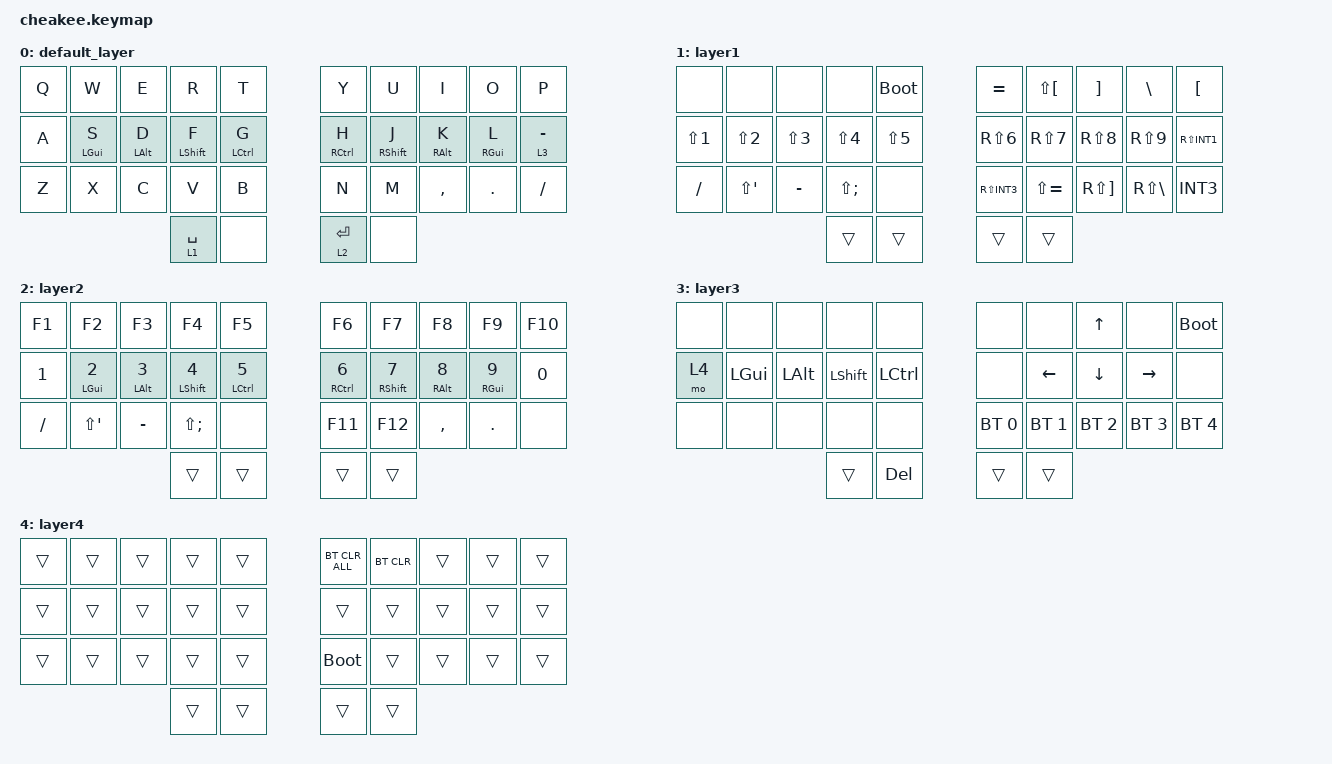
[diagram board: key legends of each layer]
#include <input/processors.dtsi>
#include <dt-bindings/zmk/input_transform.h>
#include <behaviors.dtsi>
#include <dt-bindings/zmk/bt.h>
#include <dt-bindings/zmk/keys.h>
#include <dt-bindings/zmk/pointing.h>
#include <scroll-snap.dtsi>

/ {
    combos {
        compatible = "zmk,combos";

        Eisu {
            bindings = <&kp LANGUAGE_2>;
            key-positions = <21 22>;
            layers = <0>;
            timeout-ms = <30>;
        };

        Kana {
            bindings = <&kp LANGUAGE_1>;
            key-positions = <27 28>;
            layers = <0>;
            timeout-ms = <30>;
        };

        LeftClick {
            bindings = <&mkp LCLK>;
            key-positions = <16 17>;
            layers = <0>;
            require-prior-idle-ms = <150>;
            timeout-ms = <30>;
        };

        RightClick {
            bindings = <&mkp RCLK>;
            key-positions = <17 18>;
            layers = <0>;
            require-prior-idle-ms = <150>;
            timeout-ms = <30>;
        };

        MiddleClick {
            bindings = <&mkp MCLK>;
            key-positions = <18 16>;
            layers = <0>;
            require-prior-idle-ms = <150>;
            timeout-ms = <30>;
        };

        Tab {
            bindings = <&kp TAB>;
            key-positions = <11 12>;
            layers = <0>;
            require-prior-idle-ms = <150>;
        };

        Escape {
            bindings = <&kp ESC>;
            key-positions = <1 2>;
            layers = <0>;
            require-prior-idle-ms = <150>;
        };

        DoubleQuote {
            bindings = <&kp LS(NUMBER_2)>;
            key-positions = <7 8>;
            layers = <0>;
            require-prior-idle-ms = <150>;
        };

        Semicolon {
            bindings = <&kp SEMICOLON>;
            key-positions = <6 7>;
            layers = <0>;
            require-prior-idle-ms = <150>;
        };

        Colon {
            bindings = <&kp SINGLE_QUOTE>;
            key-positions = <26 27>;
            layers = <0>;
            require-prior-idle-ms = <150>;
        };

        Scroll {
            bindings = <&mo 3>;
            key-positions = <16 17 18>;
            layers = <0>;
        };

        Backspace {
            bindings = <&kp BACKSPACE>;
            key-positions = <13 12>;
            layers = <0>;
        };
    };

    behaviors {
        auto_caps_word: auto_caps_word {
            compatible = "zmk,behavior-auto-caps-word";
            #binding-cells = <0>;
            continue-list = <INT1 BACKSPACE DELETE>;
            display-name = "Auto Caps Word";
            auto-activate-upper-count = <3>;
        };

        hmr_l: hmr_l {
            compatible = "zmk,behavior-hold-tap";
            label = "HMR_L";
            bindings = <&kp>, <&kp>;

            #binding-cells = <2>;
            tapping-term-ms = <300>;
            flavor = "balanced";
            hold-trigger-key-positions = <5 15 25 32 33 26 28 27 29 19 18 17 16 6 7 8 9>;
            hold-trigger-on-release;
            require-prior-idle-ms = <150>;
        };

        hmr_r: hmr_r {
            compatible = "zmk,behavior-hold-tap";
            label = "HMR_R";
            bindings = <&kp>, <&kp>;

            #binding-cells = <2>;
            tapping-term-ms = <300>;
            flavor = "balanced";
            hold-trigger-key-positions = <31 30 20 21 22 23 24 14 13 12 11 10 0 1 2 3 4>;
            hold-trigger-on-release;
            require-prior-idle-ms = <150>;
        };

        lt_thumb: lt_thumb {
            compatible = "zmk,behavior-hold-tap";
            label = "LT_THUMB";
            bindings = <&mo>, <&kp>;

            #binding-cells = <2>;
            tapping-term-ms = <250>;
        };

        lt_arrow: lt_arrow {
            compatible = "zmk,behavior-hold-tap";
            label = "LT_ARROW";
            bindings = <&mo>, <&kp>;

            #binding-cells = <2>;
            flavor = "balanced";
            tapping-term-ms = <200>;
            require-prior-idle-ms = <150>;
        };

        lt_scroll: lt_scroll {
            compatible = "zmk,behavior-hold-tap";
            label = "LT_SCROLL";
            #binding-cells = <2>;
            tapping-term-ms = <300>;
            flavor = "tap-preferred";
            bindings = <&mo>, <&kp>;

            hold-while-undecided;
            require-prior-idle-ms = <150>;
        };

        hmr_l_2: hmr_l_2 {
            compatible = "zmk,behavior-hold-tap";
            label = "HMR_L_2";
            bindings = <&kp>, <&kp>;

            #binding-cells = <2>;
            tapping-term-ms = <300>;
            flavor = "balanced";
            hold-trigger-key-positions = <5 15 25 32 33 26 28 27 29 19 18 17 16 6 7 8 9>;
            hold-trigger-on-release;
            require-prior-idle-ms = <150>;
            hold-while-undecided;
        };

        hmr_r_2: hmr_r_2 {
            compatible = "zmk,behavior-hold-tap";
            label = "HMR_R_2";
            bindings = <&kp>, <&kp>;

            #binding-cells = <2>;
            tapping-term-ms = <300>;
            flavor = "balanced";
            hold-trigger-key-positions = <31 30 20 21 22 23 24 14 13 12 11 10 0 1 2 3 4>;
            hold-trigger-on-release;
            require-prior-idle-ms = <150>;
            hold-while-undecided;
        };

        hmr_num_l: hmr_num_l {
            compatible = "zmk,behavior-hold-tap";
            label = "HMR_NUM_L";
            bindings = <&kp>, <&kp>;

            #binding-cells = <2>;
            tapping-term-ms = <300>;
            flavor = "tap-preferred";
            hold-trigger-key-positions = <5 15 25 32 33 26 28 27 29 19 18 17 16 6 7 8 9>;
            hold-trigger-on-release;
            require-prior-idle-ms = <150>;
            retro-tap;
        };

        hmr_num_r: hmr_num_r {
            compatible = "zmk,behavior-hold-tap";
            label = "HMR_NUM_R";
            bindings = <&kp>, <&kp>;

            #binding-cells = <2>;
            tapping-term-ms = <300>;
            flavor = "tap-preferred";
            hold-trigger-key-positions = <31 30 20 21 22 23 24 14 13 12 11 10 0 1 2 3 4>;
            hold-trigger-on-release;
            require-prior-idle-ms = <150>;
            retro-tap;
        };
    };

    keymap {
        compatible = "zmk,keymap";

        default_layer {
            bindings = <
&kp Q  &kp W  &kp E  &kp R  &kp T  &kp Y  &kp U  &kp I  &kp O  &kp P  &kp A  &hmr_l LEFT_GUI S  &hmr_l LEFT_ALT D  &hmr_l_2 LEFT_SHIFT F  &hmr_l_2 LCTRL G  &hmr_r_2 RCTRL H  &hmr_r_2 RIGHT_SHIFT J  &hmr_r RIGHT_ALT K  &hmr_r RIGHT_GUI L  &lt_arrow 3 MINUS  &kp Z  &kp X  &kp C  &kp V  &kp B  &kp N  &kp M  &kp COMMA  &kp DOT  &kp SLASH  &lt_thumb 1 SPACE  &none  &lt_thumb 2 ENTER  &none
            >;
        };

        layer1 {
            bindings = <
&none  &none  &none  &none  &bootloader  &kp EQUAL  &kp LS(LEFT_BRACKET)  &kp RIGHT_BRACKET  &kp BACKSLASH  &kp LEFT_BRACKET  &kp LS(NUMBER_1)  &kp LS(NUMBER_2)  &kp LS(NUMBER_3)  &kp LS(NUMBER_4)  &kp LS(NUMBER_5)  &kp RS(NUMBER_6)  &kp RS(NUMBER_7)  &kp RS(NUMBER_8)  &kp RS(NUMBER_9)  &kp RS(INT1)  &kp SLASH  &kp LS(SINGLE_QUOTE)  &kp MINUS  &kp LS(SEMICOLON)  &none  &kp RS(INT3)  &kp LS(EQUAL)  &kp RS(RIGHT_BRACKET)  &kp RS(BACKSLASH)  &kp INT3  &trans  &trans  &trans  &trans
            >;
        };

        layer2 {
            bindings = <
&kp F1  &kp F2  &kp F3  &kp F4  &kp F5  &kp F6  &kp F7  &kp F8  &kp F9  &kp F10  &kp NUMBER_1  &hmr_num_l LEFT_GUI NUMBER_2  &hmr_num_l LEFT_ALT NUMBER_3  &hmr_num_l LEFT_SHIFT NUMBER_4  &hmr_num_l LCTRL NUMBER_5  &hmr_num_r RCTRL NUMBER_6  &hmr_num_r RIGHT_SHIFT NUMBER_7  &hmr_num_r RIGHT_ALT NUMBER_8  &hmr_num_r RIGHT_GUI NUMBER_9  &kp NUMBER_0  &kp SLASH  &kp LS(SINGLE_QUOTE)  &kp MINUS  &kp LS(SEMICOLON)  &none  &kp F11  &kp F12  &kp COMMA  &kp DOT  &none  &trans  &trans  &trans  &trans
            >;
        };

        layer3 {
            bindings = <
&none  &none  &none  &none  &none  &none  &none  &kp UP  &none  &bootloader  &mo 4  &kp LEFT_GUI  &kp LEFT_ALT  &kp LEFT_SHIFT  &kp LCTRL  &none  &kp LEFT  &kp DOWN  &kp RIGHT  &none  &none  &none  &none  &none  &none  &bt BT_SEL 0  &bt BT_SEL 1  &bt BT_SEL 2  &bt BT_SEL 3  &bt BT_SEL 4  &trans  &kp DELETE  &trans  &trans
            >;
        };

        layer4 {
            bindings = <
&trans  &trans  &trans  &trans  &trans  &bt BT_CLR_ALL  &bt BT_CLR  &trans  &trans  &trans  &trans  &trans  &trans  &trans  &trans  &trans  &trans  &trans  &trans  &trans  &trans  &trans  &trans  &trans  &trans  &bootloader  &trans  &trans  &trans  &trans  &trans  &trans  &trans  &trans
            >;
        };
    };

    zip_keybind_keys: zip_keybind_keys {
        compatible = "zmk,input-processor-keybind";
        #input-processor-cells = <0>;
        track_remainders;
        bindings = <&kp RIGHT>,
                  <&kp LEFT>,
                  <&kp UP>,
                  <&kp DOWN>;
        tick = <40>;
        wait-ms = <0>;
        tap-ms = <10>;
        mode = <1>;
        threshold = <3>;
        // max_threshold = <200>
        // max_pending_activations = <10>
    };
};

&trackball_listener {
    scroller {
        layers = <3>;
        input-processors = <&zip_xy_to_scroll_mapper &zip_scroll_scaler 1 16>;
    };
};

&trackball_listener_central {
    input-processors = <&zip_scroll_snap &zip_keybind_keys>;
};
